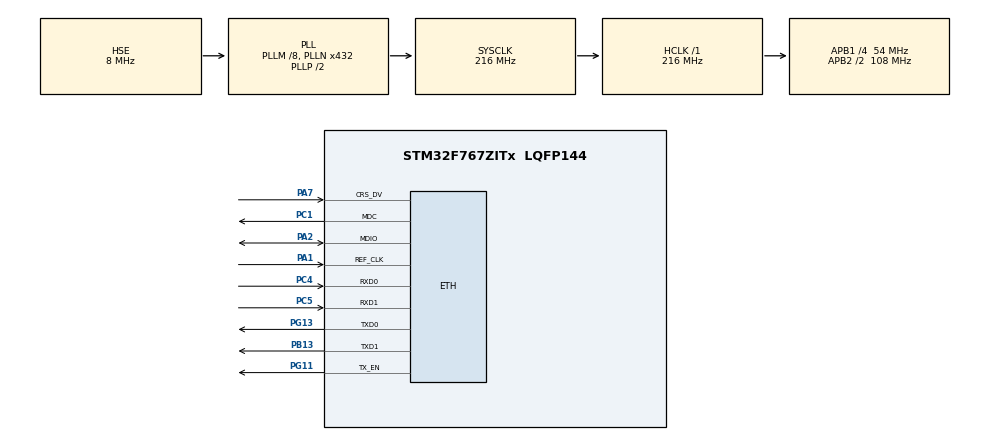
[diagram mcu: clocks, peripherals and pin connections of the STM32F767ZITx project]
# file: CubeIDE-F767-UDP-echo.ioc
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ETH.MediaInterface=ETH_MEDIA_INTERFACE_RMII
LWIP.GATEWAY_ADDRESS=192.168.000.001
LWIP.IP_ADDRESS=192.168.000.010
LWIP.LWIP_DHCP=0
LWIP.NETMASK_ADDRESS=255.255.255.000
LWIP.Version=v2.1.2_Cube
Mcu.Family=STM32F7
Mcu.Name=STM32F767ZITx
Mcu.Package=LQFP144
NVIC.PriorityGroup=NVIC_PRIORITYGROUP_4
PA1.Mode=RMII
PA1.Signal=ETH_REF_CLK
PA2.Mode=RMII
PA2.Signal=ETH_MDIO
PA7.Mode=RMII
PA7.Signal=ETH_CRS_DV
PB13.Mode=RMII
PB13.Signal=ETH_TXD1
PC1.Mode=RMII
PC1.Signal=ETH_MDC
PC14/OSC32_IN.Mode=LSE-External-Oscillator
PC14/OSC32_IN.Signal=RCC_OSC32_IN
PC15/OSC32_OUT.Mode=LSE-External-Oscillator
PC15/OSC32_OUT.Signal=RCC_OSC32_OUT
PC4.Mode=RMII
PC4.Signal=ETH_RXD0
PC5.Mode=RMII
PC5.Signal=ETH_RXD1
PG11.Mode=RMII
PG11.Signal=ETH_TX_EN
PG13.Mode=RMII
PG13.Signal=ETH_TXD0
PH0/OSC_IN.Mode=HSE-External-Oscillator
PH0/OSC_IN.Signal=RCC_OSC_IN
PH1/OSC_OUT.Mode=HSE-External-Oscillator
PH1/OSC_OUT.Signal=RCC_OSC_OUT
ProjectManager.HeapSize=0x200
ProjectManager.StackSize=0x400
ProjectManager.TargetToolchain=STM32CubeIDE
RCC.AHBFreq_Value=216000000
RCC.APB1CLKDivider=RCC_HCLK_DIV4
RCC.APB1Freq_Value=54000000
RCC.APB1TimFreq_Value=108000000
RCC.APB2CLKDivider=RCC_HCLK_DIV2
RCC.APB2Freq_Value=108000000
RCC.APB2TimFreq_Value=216000000
RCC.CortexFreq_Value=216000000
RCC.HCLKFreq_Value=216000000
RCC.HSE_VALUE=8000000
RCC.HSI_VALUE=16000000
RCC.PLLM=8
RCC.PLLN=432
RCC.PLLSourceVirtual=RCC_PLLSOURCE_HSE
RCC.SYSCLKFreq_VALUE=216000000
RCC.SYSCLKSource=RCC_SYSCLKSOURCE_PLLCLK
RCC.USBFreq_Value=216000000
RCC.VCOOutputFreq_Value=432000000
VP_LWIP_VS_Enabled.Mode=Enabled
board=custom

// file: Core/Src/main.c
/* USER CODE BEGIN Header */
/**
  ******************************************************************************
  * @file           : main.c
  * @brief          : Main program body
  ******************************************************************************
  * @attention
  *
  * <h2><center>&copy; Copyright (c) 2021 STMicroelectronics.
  * All rights reserved.</center></h2>
  *
  * This software component is licensed by ST under BSD 3-Clause license,
  * the "License"; You may not use this file except in compliance with the
  * License. You may obtain a copy of the License at:
  *                        opensource.org/licenses/BSD-3-Clause
  *
  ******************************************************************************
  */
/* USER CODE END Header */
#include "main.h"
#include "lwip.h"

/* USER CODE BEGIN Includes */
#include "lwip/pbuf.h"
#include "lwip/udp.h"
#include "lwip/tcp.h"
#include <string.h>
/* USER CODE END Includes */

/* USER CODE BEGIN PV */
	u8_t data[50];
	__IO uint32_t message_count = 0;
	struct udp_pcb *upcb;
/* USER CODE END PV */

void SystemClock_Config(void);
static void MX_GPIO_Init(void);
/* USER CODE BEGIN PFP */
void udp_receive_callback(void *arg, struct udp_pcb *upcb, struct pbuf *p, const ip_addr_t *addr, u16_t port);
/* USER CODE END PFP */

int main(void)
{

  /* MCU Configuration--------------------------------------------------------*/

  /* Reset of all peripherals, Initializes the Flash interface and the Systick. */
  HAL_Init();

  /* Configure the system clock */
  SystemClock_Config();

  /* Initialize all configured peripherals */
  MX_GPIO_Init();
  MX_LWIP_Init();
  /* USER CODE BEGIN 2 */
  udp_echoclient_connect();
  /* USER CODE END 2 */

  /* Infinite loop */
  while (1)
  {
		MX_LWIP_Process();

		//If you want to send some other data
		//udp_echoclient_send();
  }
}

void SystemClock_Config(void)
{
  RCC_OscInitTypeDef RCC_OscInitStruct = {0};
  RCC_ClkInitTypeDef RCC_ClkInitStruct = {0};

  /** Configure LSE Drive Capability
  */
  HAL_PWR_EnableBkUpAccess();
  /** Configure the main internal regulator output voltage
  */
  __HAL_RCC_PWR_CLK_ENABLE();
  __HAL_PWR_VOLTAGESCALING_CONFIG(PWR_REGULATOR_VOLTAGE_SCALE1);
  /** Initializes the RCC Oscillators according to the specified parameters
  * in the RCC_OscInitTypeDef structure.
  */
  RCC_OscInitStruct.OscillatorType = RCC_OSCILLATORTYPE_HSE;
  RCC_OscInitStruct.HSEState = RCC_HSE_ON;
  RCC_OscInitStruct.PLL.PLLState = RCC_PLL_ON;
  RCC_OscInitStruct.PLL.PLLSource = RCC_PLLSOURCE_HSE;
  RCC_OscInitStruct.PLL.PLLM = 8;
  RCC_OscInitStruct.PLL.PLLN = 432;
  RCC_OscInitStruct.PLL.PLLP = RCC_PLLP_DIV2;
  RCC_OscInitStruct.PLL.PLLQ = 2;
  RCC_OscInitStruct.PLL.PLLR = 2;
  if (HAL_RCC_OscConfig(&RCC_OscInitStruct) != HAL_OK)
  {
    Error_Handler();
  }
  /** Activate the Over-Drive mode
  */
  if (HAL_PWREx_EnableOverDrive() != HAL_OK)
  {
    Error_Handler();
  }
  /** Initializes the CPU, AHB and APB buses clocks
  */
  RCC_ClkInitStruct.ClockType = RCC_CLOCKTYPE_HCLK|RCC_CLOCKTYPE_SYSCLK
                              |RCC_CLOCKTYPE_PCLK1|RCC_CLOCKTYPE_PCLK2;
  RCC_ClkInitStruct.SYSCLKSource = RCC_SYSCLKSOURCE_PLLCLK;
  RCC_ClkInitStruct.AHBCLKDivider = RCC_SYSCLK_DIV1;
  RCC_ClkInitStruct.APB1CLKDivider = RCC_HCLK_DIV4;
  RCC_ClkInitStruct.APB2CLKDivider = RCC_HCLK_DIV2;

  if (HAL_RCC_ClockConfig(&RCC_ClkInitStruct, FLASH_LATENCY_7) != HAL_OK)
  {
    Error_Handler();
  }
}

static void MX_GPIO_Init(void)
{

  /* GPIO Ports Clock Enable */
  __HAL_RCC_GPIOC_CLK_ENABLE();
  __HAL_RCC_GPIOH_CLK_ENABLE();
  __HAL_RCC_GPIOA_CLK_ENABLE();
  __HAL_RCC_GPIOB_CLK_ENABLE();
  __HAL_RCC_GPIOG_CLK_ENABLE();

}
//////////////////////////////////////////////////////////////////////
/* USER CODE BEGIN 4 */

/**
  * @brief  Connect to UDP echo server
  * @param  None
  * @retval None
  */
void udp_echoclient_connect(void)
{
  ip_addr_t DestIPaddr;
  err_t err;

  /* Create a new UDP control block  */
  upcb = udp_new();
  udp_bind(upcb, IP4_ADDR_ANY, UDP_HOST_PORT);

  if (upcb!=NULL)
  {
    /*assign destination IP address */
    IP4_ADDR( &DestIPaddr, DEST_IP_ADDR0, DEST_IP_ADDR1, DEST_IP_ADDR2, DEST_IP_ADDR3 );

    /* configure destination IP address and port */
    err= udp_connect(upcb, &DestIPaddr, UDP_SERVER_PORT);

    if (err == ERR_OK)
    {
      /* Set a receive callback for the upcb */
      udp_recv(upcb, udp_receive_callback, NULL);
    }
  }
}

/* This function isn't really used in this demo, but if you wanted to send a custom message back
 * then just call this function and changed the second argument in the sprintf statement
 * to a string of your choice.
 */
void udp_echoclient_send(void)
{
  struct pbuf *p;

  sprintf((char*)data, "sending udp client message %d", (int)message_count);

  /* allocate pbuf from pool*/
  p = pbuf_alloc(PBUF_TRANSPORT,strlen((char*)data), PBUF_POOL);

  if (p != NULL)
  {
    /* copy data to pbuf */
    pbuf_take(p, (char*)data, strlen((char*)data));

    /* send udp data */
    udp_send(upcb, p);

    /* free pbuf */
    pbuf_free(p);
  }
}

/**
  * @brief This function is called when an UDP datagrm has been received on the port UDP_PORT.
  * @param arg user supplied argument (udp_pcb.recv_arg)
  * @param pcb the udp_pcb which received data
  * @param p the packet buffer that was received
  * @param addr the remote IP address from which the packet was received
  * @param port the remote port from which the packet was received
  * @retval None
  */
void udp_receive_callback(void *arg, struct udp_pcb *upcb, struct pbuf *p, const ip_addr_t *addr, u16_t port)
{

  /*increment message count, useful for debug information */
  message_count++;

  /*send back the data*/
  udp_send(upcb, p);

  /* Free receive pbuf */
  pbuf_free(p);
}

/* USER CODE END 4 */

//////////////////////////////////////////////////////////////////////////////////////////

void Error_Handler(void)
{
  __disable_irq();
  while (1)
  {
  }
}

/************************ (C) COPYRIGHT STMicroelectronics *****END OF FILE****/
